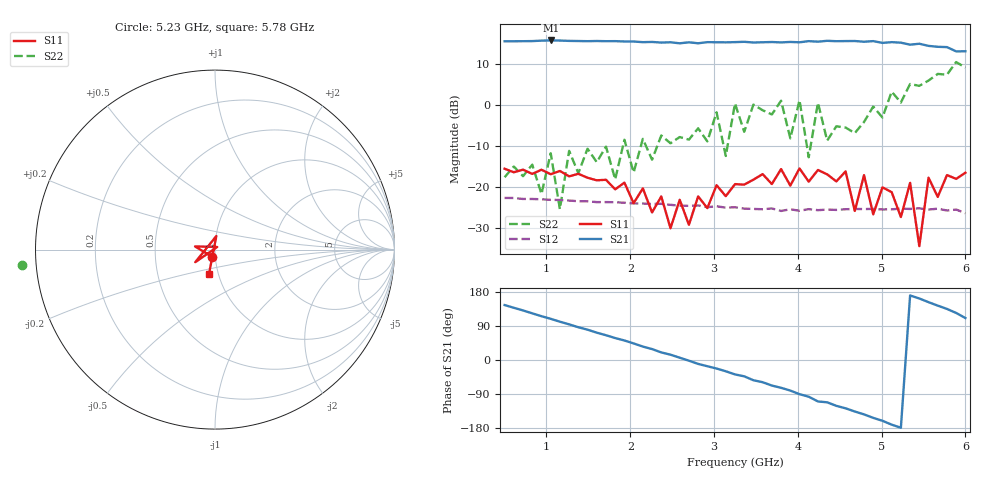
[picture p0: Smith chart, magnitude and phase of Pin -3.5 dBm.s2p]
! RsaToolbox (C) 2015 Rohde & Schwarz America
! Number of points: 51
! Number of ports: 2
! Balanced ports?: No
# Hz S RI R 50
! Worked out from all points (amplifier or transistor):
!   51 points, 500 MHz to 6 GHz, reference 50 ohm
!   highest |S21| = 15.8 dB at 1.05 GHz (marker M1)
!   |S21| within 3 dB of that: start of sweep to end of sweep
!   unconditionally stable (mu >= 1): start of sweep to 3.004 GHz; 3.046 GHz to 3.22 GHz; 4.287 GHz to 4.803 GHz (the widest 3 of 6)
!   at 1.38 GHz: K = 1.36, MAG = 15.9 dB, |S12| = -23.4 dB
!   at 3.25 GHz: K = 0.08, MSG = 20.2 dB, |S12| = -24.9 dB
!   at 6 GHz: K = -15.87, MSG = 19.8 dB, |S12| = -26.4 dB
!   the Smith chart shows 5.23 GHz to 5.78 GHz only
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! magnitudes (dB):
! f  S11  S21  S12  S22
! 500 MHz  -15.5  15.6  -22.6  -17.6
! 940 MHz  -15.8  15.7  -23.0  -21.7
! 1.05 GHz  -16.9  15.8  -23.1  -11.7
! 1.16 GHz  -16.1  15.8  -23.1  -25.4
! 1.27 GHz  -17.4  15.7  -23.3  -11.2
! 1.49 GHz  -17.7  15.6  -23.5  -10.6
! 1.82 GHz  -20.5  15.6  -23.7  -18.1
! 2.37 GHz  -22.3  15.3  -24.0  -7.4
! 2.7 GHz  -29.2  15.3  -24.6  -8.4
! 3.03 GHz  -19.5  15.4  -24.7  -1.7
! 3.14 GHz  -22.2  15.3  -25.0  -12.4
! 3.25 GHz  -19.3  15.4  -24.9  0.4
! 3.91 GHz  -19.6  15.4  -25.4  -8.1
! 4.02 GHz  -15.4  15.3  -25.8  1.2
! 4.13 GHz  -18.7  15.6  -25.4  -12.7
! 4.24 GHz  -15.8  15.5  -25.6  0.6
! 4.35 GHz  -16.9  15.7  -25.5  -8.7
! 5.12 GHz  -21.2  15.4  -25.4  3.3
! 5.34 GHz  -19.0  14.8  -25.3  5.2
! 5.45 GHz  -34.4  15.0  -25.2  4.7
! 5.56 GHz  -17.7  14.5  -25.5  6.0
! 6 GHz  -16.5  13.2  -26.4  9.2
